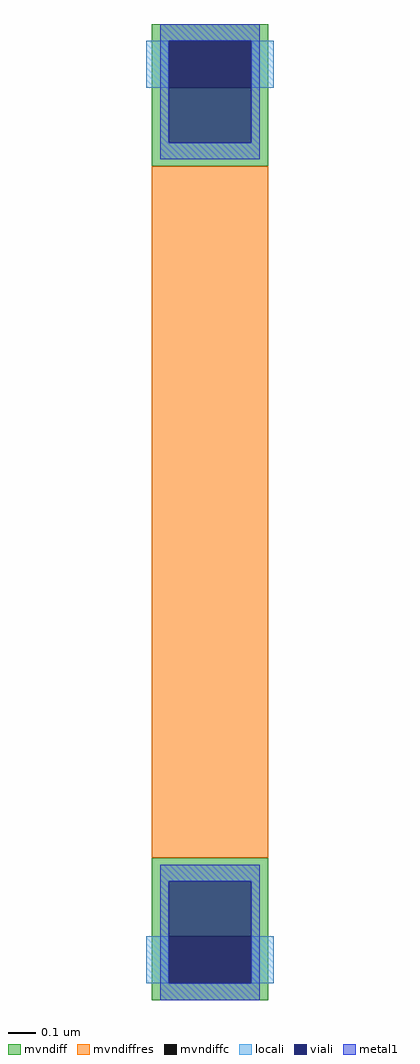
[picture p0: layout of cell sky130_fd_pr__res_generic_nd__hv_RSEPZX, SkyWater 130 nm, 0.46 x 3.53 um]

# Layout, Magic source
magic
tech sky130A
magscale 1 2
<< mvndiff >>
rect -42 341 42 353
rect -42 307 -30 341
rect 30 307 42 341
rect -42 250 42 307
rect -42 -307 42 -250
rect -42 -341 -30 -307
rect 30 -341 42 -307
rect -42 -353 42 -341
<< mvndiffc >>
rect -30 307 30 341
rect -30 -341 30 -307
<< mvndiffres >>
rect -42 -250 42 250
<< locali >>
rect -46 307 -30 341
rect 30 307 46 341
rect -46 -341 -30 -307
rect 30 -341 46 -307
<< viali >>
rect -30 307 30 341
rect -30 267 30 307
rect -30 -307 30 -267
rect -30 -341 30 -307
<< metal1 >>
rect -36 341 36 353
rect -36 267 -30 341
rect 30 267 36 341
rect -36 255 36 267
rect -36 -267 36 -255
rect -36 -341 -30 -267
rect 30 -341 36 -267
rect -36 -353 36 -341
<< properties >>
string gencell sky130_fd_pr__res_generic_nd__hv
string library sky130
string parameters w 0.42 l 2.5 m 1 nx 1 wmin 0.42 lmin 2.10 rho 120 val 750.0 dummy 0 dw 0.02 term 0.0 sterm 0.0 caplen 0.4 snake 0 guard 0 glc 1 grc 1 gtc 1 gbc 1 roverlap 0 endcov 100 full_metal 1 vias 1 viagb 0 viagt 0 viagl 0 viagr 0
<< end >>
